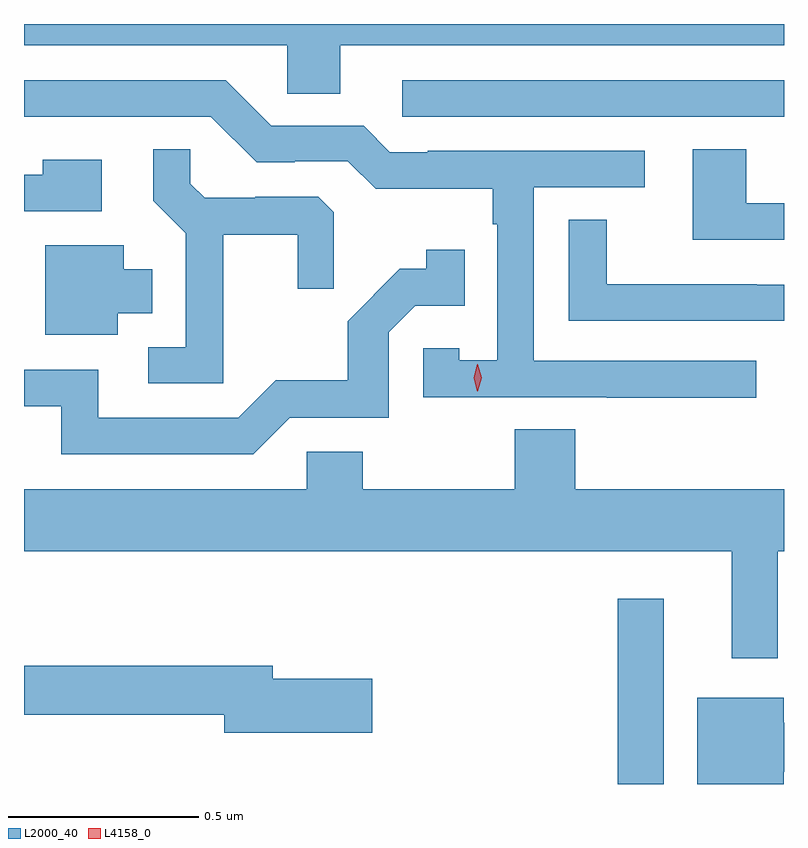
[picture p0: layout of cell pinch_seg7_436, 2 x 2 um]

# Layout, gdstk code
import gdstk
lib = gdstk.Library(unit=1e-6, precision=1e-09)
def R(c, l, rs):  # rectangles x0, y0, x1, y1
    for r in rs: c.add(gdstk.rectangle(r[:2], r[2:], *l))
def P(c, l, *ps):  # polygons
    for p in ps: c.add(gdstk.Polygon(p, *l))
L2000_40 = (2000, 40)
L4158_0 = (4158, 0)

pinch_seg7_436 = lib.new_cell('pinch_seg7_436')
R(pinch_seg7_436, L2000_40, [(338.43,1071.932,338.551,1072.42), (337.863,1073.688,338.867,1073.784)])
P(pinch_seg7_436, L2000_40, [(337.699,1073.876),(338.867,1073.876),(338.867,1073.932),(336.867,1073.932),(336.867,1073.876),(337.56,1073.876),(337.56,1073.749),(337.699,1073.749)],
  [(338.794,1073.046),(338.208,1073.046),(338.208,1073.502),(338.5,1073.502),(338.5,1073.598),(337.93,1073.598),(337.93,1073.595),(337.83,1073.595),(337.761,1073.664),(337.518,1073.664),(337.398,1073.784),(336.867,1073.784),(336.867,1073.688),(337.359,1073.688),(337.479,1073.568),(337.58,1073.568),(337.58,1073.571),(337.719,1073.571),(337.792,1073.498),(338.1,1073.498),(338.1,1073.405),(338.112,1073.405),(338.112,1073.047),(338.013,1073.047),(338.013,1073.079),(337.917,1073.079),(337.917,1072.95),(338.401,1072.95),(338.401,1072.948),(338.794,1072.948)],
  [(338.867,1073.46),(338.767,1073.46),(338.767,1073.603),(338.627,1073.603),(338.627,1073.364),(338.867,1073.364)],
  [(337.391,1073.378),(337.588,1073.378),(337.588,1073.235),(337.682,1073.235),(337.682,1073.437),(337.641,1073.478),(337.476,1073.478),(337.476,1073.475),(337.342,1073.475),(337.305,1073.512),(337.305,1073.603),(337.207,1073.603),(337.207,1073.467),(337.293,1073.381),(337.293,1073.082),(337.194,1073.082),(337.194,1072.986),(337.391,1072.986)],
  [(337.072,1073.575),(336.916,1073.575),(336.916,1073.535),(336.867,1073.535),(336.867,1073.439),(337.072,1073.439)],
  [(338.867,1073.246),(338.795,1073.246),(338.795,1073.247),(338.4,1073.247),(338.4,1073.417),(338.301,1073.417),(338.301,1073.151),(338.867,1073.151)],
  [(337.114,1073.171),(337.204,1073.171),(337.204,1073.287),(337.129,1073.287),(337.129,1073.35),(336.923,1073.35),(336.923,1073.114),(337.114,1073.114)],
  [(337.566,1072.896),(337.827,1072.896),(337.827,1073.121),(337.896,1073.19),(338.027,1073.19),(338.027,1073.338),(337.926,1073.338),(337.926,1073.288),(337.856,1073.288),(337.719,1073.15),(337.719,1072.995),(337.53,1072.995),(337.431,1072.896),(337.063,1072.896),(337.063,1073.022),(336.867,1073.022),(336.867,1072.926),(336.965,1072.926),(336.965,1072.8),(337.47,1072.8)],
  [(338.851,1072.544),(338.867,1072.544),(338.867,1072.708),(338.318,1072.708),(338.318,1072.865),(338.158,1072.865),(338.158,1072.708),(337.758,1072.708),(337.758,1072.806),(337.611,1072.806),(337.611,1072.708),(336.867,1072.708),(336.867,1072.544),(338.729,1072.544),(338.729,1072.263),(338.851,1072.263)],
  [(337.783,1072.209),(337.522,1072.209),(337.522,1072.243),(336.867,1072.243),(336.867,1072.114),(337.394,1072.114),(337.394,1072.067),(337.783,1072.067)],
  [(338.866,1071.964),(338.867,1071.964),(338.867,1072.093),(338.866,1072.093),(338.866,1072.159),(338.639,1072.159),(338.639,1071.932),(338.866,1071.932)])
P(pinch_seg7_436, L4158_0, [(338.06,1072.965),(338.051,1073.001),(338.06,1073.037),(338.061,1073.037),(338.061,1073.037),(338.071,1073.001),(338.061,1072.965),(338.061,1072.965)])

lib.write_gds('pinch_seg7_436.gds')
